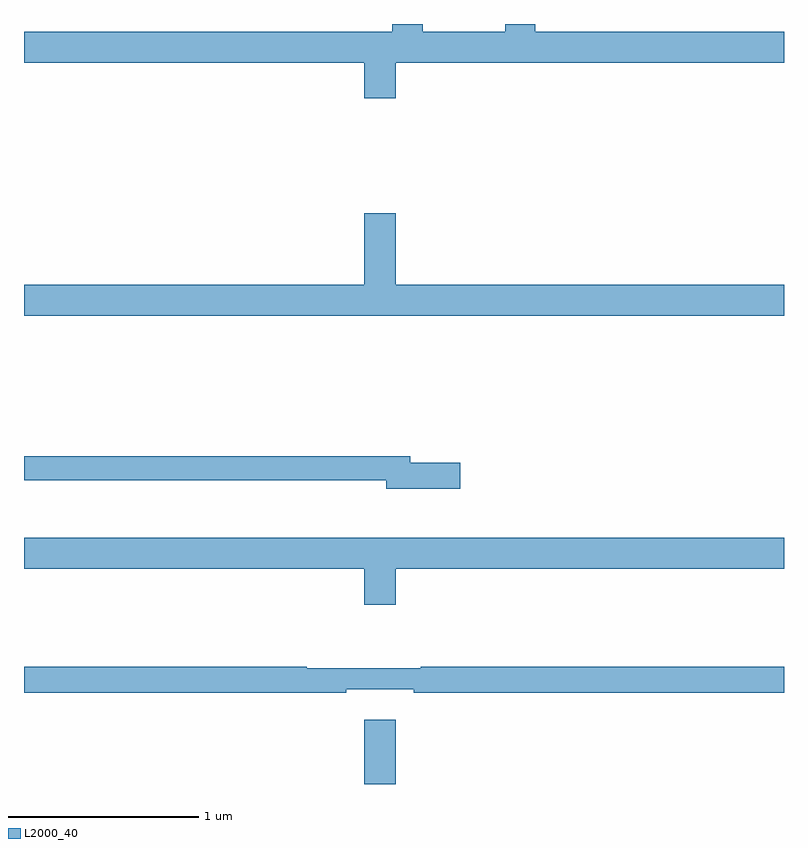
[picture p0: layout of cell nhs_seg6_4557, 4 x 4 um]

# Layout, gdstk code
import gdstk
lib = gdstk.Library(unit=1e-6, precision=1e-09)
def R(c, l, rs):  # rectangles x0, y0, x1, y1
    for r in rs: c.add(gdstk.rectangle(r[:2], r[2:], *l))
def P(c, l, *ps):  # polygons
    for p in ps: c.add(gdstk.Polygon(p, *l))
L2000_40 = (2000, 40)

nhs_seg6_4557 = lib.new_cell('nhs_seg6_4557')
R(nhs_seg6_4557, L2000_40, [(380.792,983.5,380.956,983.839)])
P(nhs_seg6_4557, L2000_40, [(380.956,987.296),(383,987.296),(383,987.46),(381.692,987.46),(381.692,987.5),(381.532,987.5),(381.532,987.46),(381.099,987.46),(381.099,987.5),(380.939,987.5),(380.939,987.46),(379,987.46),(379,987.296),(380.792,987.296),(380.792,987.108),(380.956,987.108)],
  [(383,986.128),(380.956,986.128),(380.956,986.503),(380.792,986.503),(380.792,986.128),(379,986.128),(379,985.964),(383,985.964)],
  [(381.295,985.19),(381.034,985.19),(381.034,985.226),(379,985.226),(379,985.098),(380.906,985.098),(380.906,985.055),(381.295,985.055)],
  [(380.956,984.632),(383,984.632),(383,984.796),(379,984.796),(379,984.632),(380.792,984.632),(380.792,984.444),(380.956,984.444)],
  [(380.696,983.999),(381.052,983.999),(381.052,983.98),(383,983.98),(383,984.116),(381.089,984.116),(381.089,984.109),(380.489,984.109),(380.489,984.116),(379,984.116),(379,983.98),(380.696,983.98)])

lib.write_gds('nhs_seg6_4557.gds')
